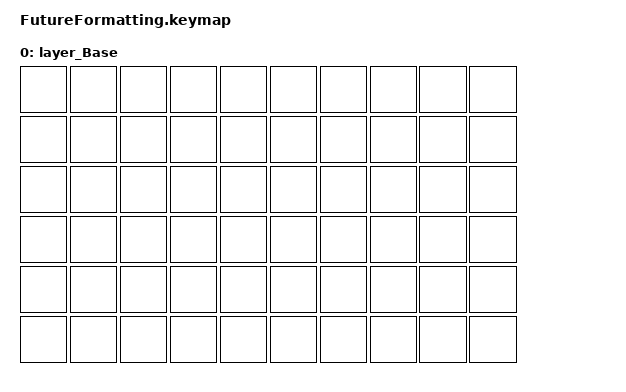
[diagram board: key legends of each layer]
/* This file was generated by the Go60 Layout Editor. */

#   define   KB_TYPE_GO_60   2
#   define   KB_TYPE         KB_TYPE_GO_60
#   define   LAYER_Base      0

/ {
    sample_behavior {
        compatible = "fixture,string-with-{braces}";
        // A commented layer_Fake { bindings = <&none>; } must stay invisible.
    };

    generated_keymap: keymap
    {
        compatible="zmk,keymap";

        layer_Base
        {
            bindings=<
                &none &none &none &none &none &none &none &none &none &none
                &none &none &none &none &none &none &none &none &none &none
                &none &none &none &none &none &none &none &none &none &none
                &none &none &none &none &none &none &none &none &none &none
                &none &none &none &none &none &none &none &none &none &none
                &none &none &none &none &none &none &none &none &none &none
            >;
        };
    };
};
